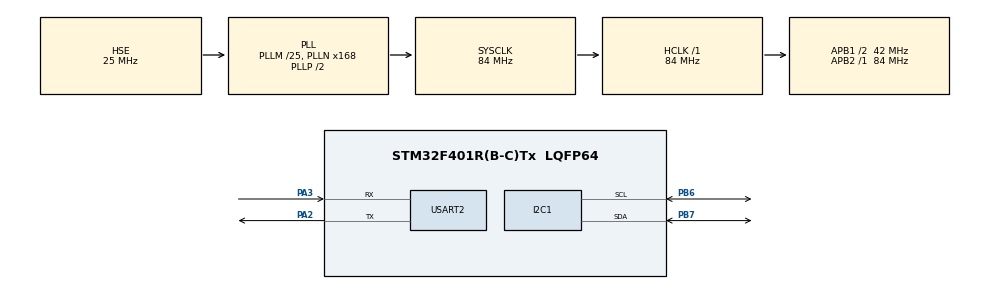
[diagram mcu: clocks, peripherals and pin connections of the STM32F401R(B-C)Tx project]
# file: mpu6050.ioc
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I2C1.I2C_Mode=I2C_Fast
Mcu.Family=STM32F4
Mcu.Name=STM32F401R(B-C)Tx
Mcu.Package=LQFP64
NVIC.PriorityGroup=NVIC_PRIORITYGROUP_4
PA13.Mode=Serial_Wire
PA13.Signal=SYS_JTMS-SWDIO
PA14.Mode=Serial_Wire
PA14.Signal=SYS_JTCK-SWCLK
PA2.Mode=Asynchronous
PA2.Signal=USART2_TX
PA3.Mode=Asynchronous
PA3.Signal=USART2_RX
PB6.Mode=I2C
PB6.Signal=I2C1_SCL
PB7.Mode=I2C
PB7.Signal=I2C1_SDA
PH0\ -\ OSC_IN.Mode=HSE-External-Oscillator
PH0\ -\ OSC_IN.Signal=RCC_OSC_IN
PH1\ -\ OSC_OUT.Mode=HSE-External-Oscillator
PH1\ -\ OSC_OUT.Signal=RCC_OSC_OUT
ProjectManager.HeapSize=0x200
ProjectManager.StackSize=0x400
ProjectManager.TargetToolchain=STM32CubeIDE
RCC.48MHZClocksFreq_Value=42000000
RCC.AHBFreq_Value=84000000
RCC.APB1CLKDivider=RCC_HCLK_DIV2
RCC.APB1Freq_Value=42000000
RCC.APB1TimFreq_Value=84000000
RCC.APB2Freq_Value=84000000
RCC.APB2TimFreq_Value=84000000
RCC.CortexFreq_Value=84000000
RCC.HCLKFreq_Value=84000000
RCC.HSE_VALUE=25000000
RCC.HSI_VALUE=16000000
RCC.LSE_VALUE=32768
RCC.PLLM=25
RCC.PLLN=168
RCC.PLLSourceVirtual=RCC_PLLSOURCE_HSE
RCC.SYSCLKFreq_VALUE=84000000
RCC.SYSCLKSource=RCC_SYSCLKSOURCE_PLLCLK
RCC.VCOOutputFreq_Value=168000000
USART2.VirtualMode=VM_ASYNC
board=custom

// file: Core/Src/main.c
/* USER CODE BEGIN Header */
/**
  ******************************************************************************
  * @file           : main.c
  * @brief          : Main program body
  ******************************************************************************
  * @attention
  *
  * Copyright (c) 2026 STMicroelectronics.
  * All rights reserved.
  *
  * This software is licensed under terms that can be found in the LICENSE file
  * in the root directory of this software component.
  * If no LICENSE file comes with this software, it is provided AS-IS.
  *
  ******************************************************************************
  */
/* USER CODE END Header */
#include "main.h"

/* USER CODE BEGIN Includes */
#include "mpu6050.h"
#include <stdio.h>
/* USER CODE END Includes */

I2C_HandleTypeDef hi2c1;

UART_HandleTypeDef huart2;

/* USER CODE BEGIN PV */
MPU6050           imu;
MPU6050_ScaledData imu_data;
/* USER CODE END PV */

void SystemClock_Config(void);
static void MX_GPIO_Init(void);
static void MX_I2C1_Init(void);
static void MX_USART2_UART_Init(void);

/* USER CODE BEGIN 0 */
int __io_putchar(int ch)
{
    HAL_UART_Transmit(&huart2, (uint8_t *)&ch, 1, HAL_MAX_DELAY);
    return ch;
}
/* USER CODE END 0 */

int main(void)
{

  /* MCU Configuration--------------------------------------------------------*/

  /* Reset of all peripherals, Initializes the Flash interface and the Systick. */
  HAL_Init();

  /* Configure the system clock */
  SystemClock_Config();

  /* Initialize all configured peripherals */
  MX_GPIO_Init();
  MX_I2C1_Init();
  MX_USART2_UART_Init();
  /* USER CODE BEGIN 2 */
  if (MPU6050_Init(&imu, &hi2c1, ACCEL_SCALE_2G, GYRO_SCALE_250) != MPU6050_OK)
  {
      printf("MPU6050 Init FAILED\r\n");
      Error_Handler();
  }
  printf("MPU6050 Init OK\r\n");
  /* USER CODE END 2 */

  /* Infinite loop */
  while (1)
  {

	  /* USER CODE BEGIN 3 */
	  if (MPU6050_ReadScaled(&imu, &imu_data) == MPU6050_OK)
	  {
	      printf("Accel  X: %.3f  Y: %.3f  Z: %.3f g\r\n",
	             imu_data.accel.x, imu_data.accel.y, imu_data.accel.z);
	      printf("Gyro   X: %.3f  Y: %.3f  Z: %.3f deg/s\r\n",
	             imu_data.gyro.x,  imu_data.gyro.y,  imu_data.gyro.z);
	      printf("Temp:  %.2f C\r\n\r\n", imu_data.temperature);
	  }
	  HAL_Delay(100);
	  /* USER CODE END 3 */
}
}

void SystemClock_Config(void)
{
  RCC_OscInitTypeDef RCC_OscInitStruct = {0};
  RCC_ClkInitTypeDef RCC_ClkInitStruct = {0};

  /** Configure the main internal regulator output voltage
  */
  __HAL_RCC_PWR_CLK_ENABLE();
  __HAL_PWR_VOLTAGESCALING_CONFIG(PWR_REGULATOR_VOLTAGE_SCALE2);

  /** Initializes the RCC Oscillators according to the specified parameters
  * in the RCC_OscInitTypeDef structure.
  */
  RCC_OscInitStruct.OscillatorType = RCC_OSCILLATORTYPE_HSE;
  RCC_OscInitStruct.HSEState = RCC_HSE_ON;
  RCC_OscInitStruct.PLL.PLLState = RCC_PLL_ON;
  RCC_OscInitStruct.PLL.PLLSource = RCC_PLLSOURCE_HSE;
  RCC_OscInitStruct.PLL.PLLM = 25;
  RCC_OscInitStruct.PLL.PLLN = 168;
  RCC_OscInitStruct.PLL.PLLP = RCC_PLLP_DIV2;
  RCC_OscInitStruct.PLL.PLLQ = 4;
  if (HAL_RCC_OscConfig(&RCC_OscInitStruct) != HAL_OK)
  {
    Error_Handler();
  }

  /** Initializes the CPU, AHB and APB buses clocks
  */
  RCC_ClkInitStruct.ClockType = RCC_CLOCKTYPE_HCLK|RCC_CLOCKTYPE_SYSCLK
                              |RCC_CLOCKTYPE_PCLK1|RCC_CLOCKTYPE_PCLK2;
  RCC_ClkInitStruct.SYSCLKSource = RCC_SYSCLKSOURCE_PLLCLK;
  RCC_ClkInitStruct.AHBCLKDivider = RCC_SYSCLK_DIV1;
  RCC_ClkInitStruct.APB1CLKDivider = RCC_HCLK_DIV2;
  RCC_ClkInitStruct.APB2CLKDivider = RCC_HCLK_DIV1;

  if (HAL_RCC_ClockConfig(&RCC_ClkInitStruct, FLASH_LATENCY_2) != HAL_OK)
  {
    Error_Handler();
  }
}

static void MX_I2C1_Init(void)
{

  hi2c1.Instance = I2C1;
  hi2c1.Init.ClockSpeed = 400000;
  hi2c1.Init.DutyCycle = I2C_DUTYCYCLE_2;
  hi2c1.Init.OwnAddress1 = 0;
  hi2c1.Init.AddressingMode = I2C_ADDRESSINGMODE_7BIT;
  hi2c1.Init.DualAddressMode = I2C_DUALADDRESS_DISABLE;
  hi2c1.Init.OwnAddress2 = 0;
  hi2c1.Init.GeneralCallMode = I2C_GENERALCALL_DISABLE;
  hi2c1.Init.NoStretchMode = I2C_NOSTRETCH_DISABLE;
  if (HAL_I2C_Init(&hi2c1) != HAL_OK)
  {
    Error_Handler();
  }

}

static void MX_USART2_UART_Init(void)
{

  huart2.Instance = USART2;
  huart2.Init.BaudRate = 115200;
  huart2.Init.WordLength = UART_WORDLENGTH_8B;
  huart2.Init.StopBits = UART_STOPBITS_1;
  huart2.Init.Parity = UART_PARITY_NONE;
  huart2.Init.Mode = UART_MODE_TX_RX;
  huart2.Init.HwFlowCtl = UART_HWCONTROL_NONE;
  huart2.Init.OverSampling = UART_OVERSAMPLING_16;
  if (HAL_UART_Init(&huart2) != HAL_OK)
  {
    Error_Handler();
  }

}

static void MX_GPIO_Init(void)
{

  /* GPIO Ports Clock Enable */
  __HAL_RCC_GPIOH_CLK_ENABLE();
  __HAL_RCC_GPIOA_CLK_ENABLE();
  __HAL_RCC_GPIOB_CLK_ENABLE();

}

void Error_Handler(void)
{
  __disable_irq();
  while (1)
  {
  }
}
